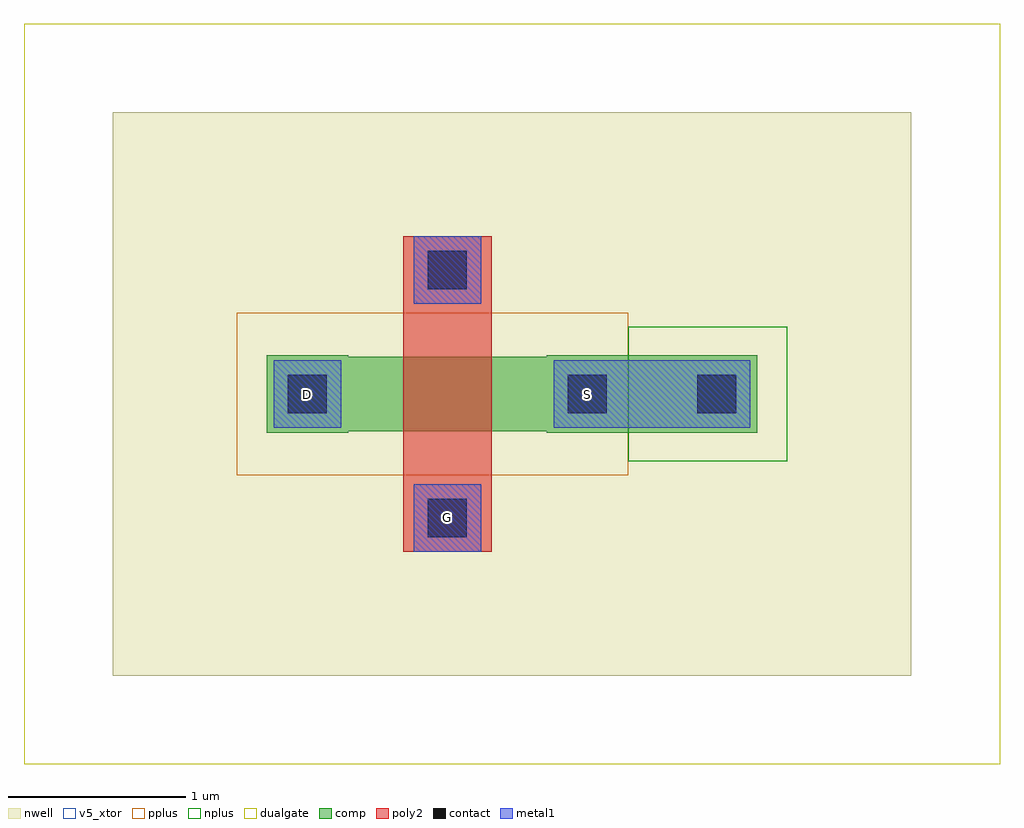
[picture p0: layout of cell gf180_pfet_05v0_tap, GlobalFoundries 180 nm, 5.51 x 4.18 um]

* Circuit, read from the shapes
.subckt gf180_pfet_05v0_tap D G S
XM1 S G D S pfet_05v0 w=0.42u l=0.5u
.ends

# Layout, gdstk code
import gdstk
lib = gdstk.Library(unit=1e-6, precision=1e-09)
def R(c, l, rs):  # rectangles x0, y0, x1, y1
    for r in rs: c.add(gdstk.rectangle(r[:2], r[2:], *l))
def P(c, l, *ps):  # polygons
    for p in ps: c.add(gdstk.Polygon(p, *l))
nwell = (21, 0)
comp = (22, 0)
poly2 = (30, 0)
pplus = (31, 0)
nplus = (32, 0)
contact = (33, 0)
metal1 = (34, 0)
dualgate = (55, 0)
v5_xtor = (112, 1)

pfet = lib.new_cell('pfet')
R(pfet, nwell, [(-1.33,-1.38,3.18,1.8)])
P(pfet, comp, [(-0.46,-0.01),(-0.46,0.43),(0,0.43),(0,0.42),(1.12,0.42),(1.12,0.43),(2.31,0.43),(2.31,-0.01),(1.12,-0.01),(1.12,0),(0,0),(0,-0.01)])
R(pfet, poly2, [(0.31,-0.68,0.81,1.1)])
R(pfet, pplus, [(-0.63,-0.25,1.58,0.67)])
R(pfet, nplus, [(1.58,-0.17,2.48,0.59)])
R(pfet, contact, [(0.45,-0.6,0.67,-0.38), (-0.34,0.1,-0.12,0.32), (1.24,0.1,1.46,0.32), (1.97,0.1,2.19,0.32), (0.45,0.8,0.67,1.02)])
R(pfet, metal1, [(0.37,-0.68,0.75,-0.3), (-0.42,0.02,-0.04,0.4), (1.16,0.02,1.54,0.4), (1.89,0.02,2.27,0.4), (0.37,0.72,0.75,1.1)])
R(pfet, dualgate, [(-1.83,-1.88,3.68,2.3)])
R(pfet, v5_xtor, [(-1.83,-1.88,3.68,2.3)])

gf180_pfet_05v0_tap = lib.new_cell('gf180_pfet_05v0_tap')
R(gf180_pfet_05v0_tap, metal1, [(1.54,0.02,1.89,0.4)])
gf180_pfet_05v0_tap.add(gdstk.Reference(pfet, (0,0)))
gf180_pfet_05v0_tap.add(gdstk.Label('D', (-0.23,0.21), layer=34, texttype=10))
gf180_pfet_05v0_tap.add(gdstk.Label('S', (1.35,0.21), layer=34, texttype=10))
gf180_pfet_05v0_tap.add(gdstk.Label('G', (0.56,-0.49), layer=34, texttype=10))

lib.write_gds('gf180_pfet_05v0_tap.gds')
